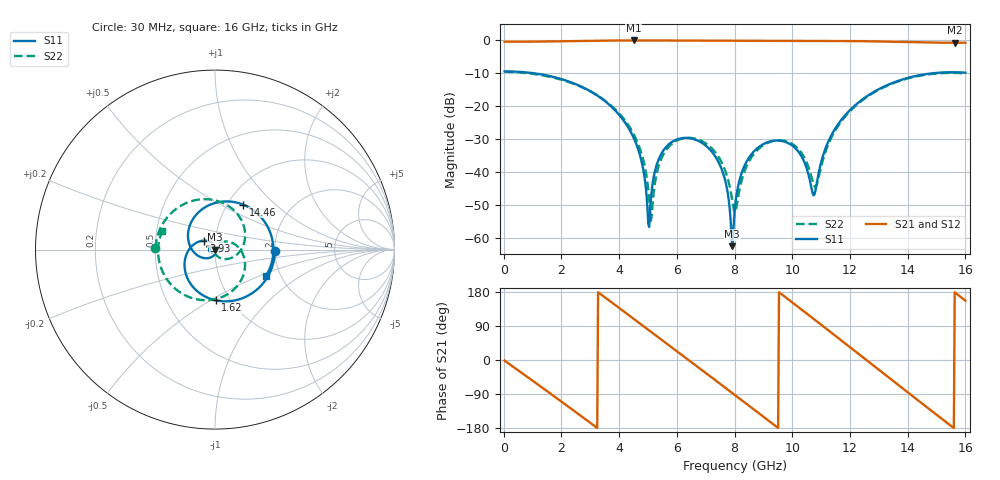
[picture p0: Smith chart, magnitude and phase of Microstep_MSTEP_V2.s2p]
! Created Thu May  2 19:34:18 2024
[Version] 2.0
# hz S db R 50
! 2 Port Network Data from SP1.SP block
[Number of Ports] 2
[Reference] 50 100
[Two-Port Data Order] 12_21
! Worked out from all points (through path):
!   534 points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, 30 MHz to 16 GHz, reference per port
!   highest |S21| = -0.15 dB at 4.5 GHz (marker M1); lowest = -0.8 dB at 15.63 GHz (marker M2)
!   group delay of S21, straight-line fit = 161 ps
!   lowest |S11| = -62.4 dB at 7.92 GHz (marker M3), VSWR 1.00
!   |S11| at or under -10 dB: 980 MHz to 14.95 GHz (13.97 GHz wide, 175 % of centre)
!   |S22| runs from -54.7 to -9.6 dB; largest |S21 - S12| = 0
!   S11 on the Smith chart (normalised r, x): 30 MHz: 2.00, -0.04; 1.62 GHz: 0.86, -0.53; 3.93 GHz: 0.88, +0.09; 14.46 GHz: 1.18, +0.65; 16 GHz: 1.69, -0.54
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[Number of Frequencies] 22
[Network Data]
3e7  -9.53 -1.6  -0.52 -1.7  -0.52 -1.7  -9.58 178.3
1.62e9  -10.97 -89.0  -0.43 -88.7  -0.43 -88.7  -11.20 90.8
2.7e9  -14.15 -149.7  -0.27 -148.9  -0.27 -148.9  -14.25 30.4
3.93e9  -21.96 141.0  -0.16 141.3  -0.16 141.3  -21.59 -39.3
4.5e9  -29.53 110.1  -0.15 108.8  -0.15 108.8  -28.45 -70.7
5.01e9  -55.69 133.8  -0.15 79.7  -0.15 79.7  -45.39 -83.1
5.13e9  -45.44 -122.2  -0.16 72.9  -0.16 72.9  -53.03 15.2
5.37e9  -36.11 -126.1  -0.16 59.2  -0.16 59.2  -38.13 47.9
6.24e9  -29.65 -172.2  -0.18 9.5  -0.18 9.5  -29.74 3.8
7.08e9  -32.57 139.8  -0.20 -38.7  -0.20 -38.7  -31.79 -41.8
7.62e9  -40.80 105.9  -0.21 -69.8  -0.21 -69.8  -38.31 -65.9
7.92e9  -62.39 2.9  -0.21 -87.1  -0.21 -87.1  -48.54 -53.3
8.04e9  -48.60 -81.9  -0.21 -94.1  -0.21 -94.1  -51.68 8.8
8.49e9  -35.76 -117.7  -0.22 -120.1  -0.22 -120.1  -36.89 44.5
9.33e9  -30.53 -170.5  -0.24 -168.9  -0.24 -168.9  -30.58 5.3
1.02e10  -33.66 130.1  -0.25 140.3  -0.25 140.3  -32.89 -34.1
1.068e10  -45.40 55.8  -0.26 112.1  -0.26 112.1  -41.90 -26.3
1.218e10  -19.76 -161.8  -0.34 23.0  -0.34 23.0  -20.04 23.3
1.335e10  -13.44 123.8  -0.52 -46.8  -0.52 -46.8  -13.60 -39.7
1.446e10  -10.59 58.0  -0.73 -112.6  -0.73 -112.6  -10.75 -104.0
1.563e10  -9.76 -6.9  -0.84 178.6  -0.84 178.6  -9.97 -175.8
1.6e10  -9.90 -26.9  -0.83 156.8  -0.83 156.8  -10.12 160.8
[End]
